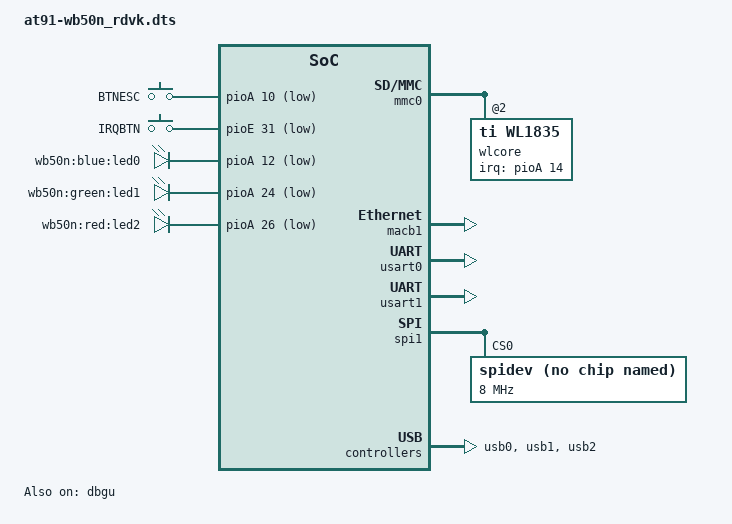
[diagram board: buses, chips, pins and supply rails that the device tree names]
// SPDX-License-Identifier: GPL-2.0
/*
 * at91-wb50n_rdvk.dts - Device Tree file for wb50n_rdvk evaluation board
 *
 *  Copyright (C) 2018 Laird
 *
 */

/dts-v1/;
#include "at91-wb50n.dtsi"

/ {
	ahb {
		apb {
			pinctrl@fffff200 {
				board {
					pinctrl_wlan_wl8xx: wlan_wl18xx {
						atmel,pins =
							<AT91_PIOA 31 AT91_PERIPH_GPIO AT91_PINCTRL_PULL_DOWN /* WLAN-EN */
							 AT91_PIOA 14 AT91_PERIPH_GPIO AT91_PINCTRL_PULL_DOWN /* INT */
							 AT91_PIOA 30 AT91_PERIPH_GPIO AT91_PINCTRL_PULL_DOWN>; /* BT-EN */
					};
				};
			};

			watchdog@fffffe40 {
				status = "okay";
			};
		};
	};

	gpio_keys {
		compatible = "gpio-keys";
		#address-cells = <1>;
		#size-cells = <0>;
		btn0@pa10 {
			label = "BTNESC";
			linux,code = <1>; /* ESC button */
			gpios = <&pioA 10 GPIO_ACTIVE_LOW>;
			gpio-key,wakeup = <1>;
		};

		irqbtn@pe31 {
			label = "IRQBTN";
			linux,code = <99>; /* SysReq button */
			gpios = <&pioE 31 GPIO_ACTIVE_LOW>;
			gpio-key,wakeup = <1>;
		};
	};

	leds {
		compatible = "gpio-leds";

		led0 {
			label = "wb50n:blue:led0";
			gpios = <&pioA 12 GPIO_ACTIVE_LOW>;
			default-state = "off";
		};

		led1 {
			label = "wb50n:green:led1";
			gpios = <&pioA 24 GPIO_ACTIVE_LOW>;
			default-state = "off";
		};

		led2 {
			label = "wb50n:red:led2";
			gpios = <&pioA 26 GPIO_ACTIVE_LOW>;
			default-state = "off";
		};
	};
};

&mmc0 {
	pinctrl-0 = <&pinctrl_mmc0_clk_cmd_dat0 &pinctrl_mmc0_dat1_3 &pinctrl_mmc0_cd &pinctrl_wlan_wl8xx>;
	keep-power-in-suspend;
	status = "okay";

	wlcore@1 {
		compatible = "ti,wl1835";
		reg = <2>;
		interrupt-parent = <&pioA>;
		interrupts = <14 IRQ_TYPE_EDGE_RISING>;
	};
};


&macb1 {
	status = "okay";
};

&dbgu {
	status = "okay";
};

/* On BB40 this port is labeled UART1 */
&usart0 {
	status = "okay";
};

/* On BB40 this port is labeled UART0 */
&usart1 {
	status = "okay";
};

&spi1 {
	status = "okay";

	spidev@0 {
		compatible = "spidev";
		reg = <0>;
		spi-max-frequency = <8000000>;
	};
};

&usb0 {
	status = "okay";
};

&usb1 {
	status = "okay";
};

&usb2 {
	status = "okay";
};
